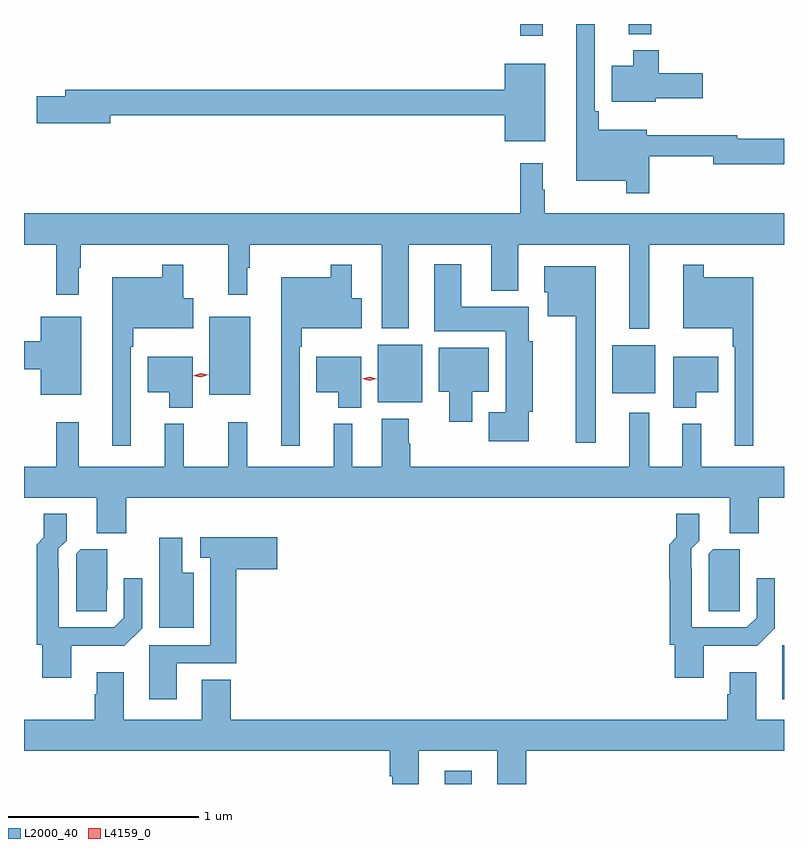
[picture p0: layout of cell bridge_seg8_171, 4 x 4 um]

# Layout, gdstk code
import gdstk
lib = gdstk.Library(unit=1e-6, precision=1e-09)
def R(c, l, rs):  # rectangles x0, y0, x1, y1
    for r in rs: c.add(gdstk.rectangle(r[:2], r[2:], *l))
def P(c, l, *ps):  # polygons
    for p in ps: c.add(gdstk.Polygon(p, *l))
L2000_40 = (2000, 40)
L4159_0 = (4159, 0)

bridge_seg8_171 = lib.new_cell('bridge_seg8_171')
R(bridge_seg8_171, L2000_40, [(542.663,1089.685,542.806,1089.754), (544.439,1090.131,544.449,1090.416), (542.312,1091.693,542.545,1091.998), (541.424,1091.735,541.639,1092.145), (543.545,1091.741,543.772,1091.995), (543.061,1093.623,543.179,1093.685), (543.632,1093.631,543.749,1093.685)])
P(bridge_seg8_171, L2000_40, [(543.739,1092.99),(544.076,1092.99),(544.076,1092.947),(544.449,1092.947),(544.449,1093.082),(544.204,1093.082),(544.204,1093.1),(543.727,1093.1),(543.727,1093.129),(543.473,1093.129),(543.473,1093.225),(543.453,1093.225),(543.453,1093.685),(543.356,1093.685),(543.356,1092.86),(543.618,1092.86),(543.618,1092.795),(543.739,1092.795)],
  [(543.774,1093.295),(544.021,1093.295),(544.021,1093.425),(543.791,1093.425),(543.791,1093.546),(543.656,1093.546),(543.656,1093.465),(543.542,1093.465),(543.542,1093.277),(543.774,1093.277)],
  [(543.193,1093.477),(542.978,1093.477),(542.978,1093.34),(540.665,1093.34),(540.665,1093.304),(540.516,1093.304),(540.516,1093.162),(540.904,1093.162),(540.904,1093.204),(542.978,1093.204),(542.978,1093.067),(543.193,1093.067)],
  [(543.739,1092.524),(544.449,1092.524),(544.449,1092.688),(543.19,1092.688),(543.19,1092.812),(543.178,1092.812),(543.178,1092.952),(543.061,1092.952),(543.061,1092.688),(540.449,1092.688),(540.449,1092.524),(540.619,1092.524),(540.619,1092.261),(540.736,1092.261),(540.736,1092.401),(540.748,1092.401),(540.748,1092.524),(541.525,1092.524),(541.525,1092.261),(541.624,1092.261),(541.624,1092.401),(541.636,1092.401),(541.636,1092.524),(542.333,1092.524),(542.333,1092.083),(542.473,1092.083),(542.473,1092.524),(542.909,1092.524),(542.909,1092.281),(543.049,1092.281),(543.049,1092.524),(543.635,1092.524),(543.635,1092.08),(543.739,1092.08)],
  [(543.106,1091.643),(543.127,1091.643),(543.127,1092.015),(543.106,1092.015),(543.106,1092.196),(542.749,1092.196),(542.749,1092.421),(542.609,1092.421),(542.609,1092.068),(542.984,1092.068),(542.984,1091.641),(542.894,1091.641),(542.894,1091.489),(543.106,1091.489)],
  [(541.011,1091.987),(541.024,1091.987),(541.024,1092.083),(541.339,1092.083),(541.339,1092.241),(541.287,1092.241),(541.287,1092.418),(541.176,1092.418),(541.176,1092.352),(540.914,1092.352),(540.914,1091.466),(541.011,1091.466)],
  [(544.288,1092.352),(544.027,1092.352),(544.027,1092.418),(543.918,1092.418),(543.918,1092.083),(544.179,1092.083),(544.179,1091.987),(544.191,1091.987),(544.191,1091.466),(544.288,1091.466)],
  [(541.899,1091.987),(541.912,1091.987),(541.912,1092.083),(542.227,1092.083),(542.227,1092.241),(542.173,1092.241),(542.173,1092.418),(542.064,1092.418),(542.064,1092.352),(541.802,1092.352),(541.802,1091.466),(541.899,1091.466)],
  [(543.457,1092.409),(543.188,1092.409),(543.188,1092.273),(543.206,1092.273),(543.206,1092.146),(543.353,1092.146),(543.353,1091.481),(543.457,1091.481)],
  [(540.751,1092.145),(540.536,1092.145),(540.536,1092.014),(540.449,1092.014),(540.449,1091.867),(540.536,1091.867),(540.536,1091.735),(540.751,1091.735)],
  [(542.809,1091.75),(542.896,1091.75),(542.896,1091.98),(542.633,1091.98),(542.633,1091.75),(542.687,1091.75),(542.687,1091.592),(542.809,1091.592)],
  [(541.336,1091.935),(541.1,1091.935),(541.1,1091.747),(541.214,1091.747),(541.214,1091.666),(541.336,1091.666)],
  [(542.224,1091.935),(541.988,1091.935),(541.988,1091.747),(542.102,1091.747),(542.102,1091.666),(542.224,1091.666)],
  [(543.988,1091.747),(544.102,1091.747),(544.102,1091.935),(543.866,1091.935),(543.866,1091.666),(543.988,1091.666)],
  [(540.986,1091.192),(544.163,1091.192),(544.163,1091.005),(544.316,1091.005),(544.316,1091.192),(544.449,1091.192),(544.449,1091.356),(544.013,1091.356),(544.013,1091.581),(543.914,1091.581),(543.914,1091.356),(543.739,1091.356),(543.739,1091.638),(543.635,1091.638),(543.635,1091.356),(542.481,1091.356),(542.481,1091.477),(542.473,1091.477),(542.473,1091.608),(542.333,1091.608),(542.333,1091.356),(542.176,1091.356),(542.176,1091.581),(542.078,1091.581),(542.078,1091.356),(541.625,1091.356),(541.625,1091.59),(541.525,1091.59),(541.525,1091.356),(541.29,1091.356),(541.29,1091.581),(541.19,1091.581),(541.19,1091.356),(540.737,1091.356),(540.737,1091.59),(540.619,1091.59),(540.619,1091.356),(540.449,1091.356),(540.449,1091.192),(540.833,1091.192),(540.833,1091.005),(540.986,1091.005)],
  [(544.027,1090.412),(544.307,1090.412),(544.401,1090.506),(544.401,1090.768),(544.305,1090.768),(544.305,1090.56),(544.254,1090.509),(543.963,1090.509),(543.963,1090.823),(543.96,1090.823),(543.96,1090.923),(544.003,1090.966),(544.003,1091.107),(543.883,1091.107),(543.883,1090.983),(543.845,1090.944),(543.845,1090.762),(543.847,1090.762),(543.847,1090.419),(543.875,1090.419),(543.875,1090.245),(544.027,1090.245)],
  [(540.697,1090.412),(540.977,1090.412),(541.071,1090.506),(541.071,1090.768),(540.975,1090.768),(540.975,1090.56),(540.924,1090.509),(540.633,1090.509),(540.633,1090.823),(540.63,1090.823),(540.63,1090.923),(540.673,1090.966),(540.673,1091.107),(540.553,1091.107),(540.553,1090.983),(540.515,1090.944),(540.515,1090.762),(540.517,1090.762),(540.517,1090.419),(540.545,1090.419),(540.545,1090.245),(540.697,1090.245)],
  [(541.252,1090.32),(541.565,1090.32),(541.565,1090.814),(541.783,1090.814),(541.783,1090.983),(541.377,1090.983),(541.377,1090.875),(541.43,1090.875),(541.43,1090.416),(541.109,1090.416),(541.109,1090.131),(541.252,1090.131)],
  [(541.342,1090.798),(541.282,1090.798),(541.282,1090.981),(541.16,1090.981),(541.16,1090.508),(541.342,1090.508)],
  [(544.215,1090.705),(544.216,1090.705),(544.216,1090.92),(544.077,1090.92),(544.053,1090.896),(544.053,1090.594),(544.215,1090.594)],
  [(540.885,1090.705),(540.886,1090.705),(540.886,1090.92),(540.747,1090.92),(540.723,1090.896),(540.723,1090.594),(540.885,1090.594)],
  [(542.527,1089.86),(542.939,1089.86),(542.939,1089.685),(543.092,1089.685),(543.092,1089.86),(544.449,1089.86),(544.449,1090.024),(544.303,1090.024),(544.303,1090.273),(544.163,1090.273),(544.163,1090.157),(544.151,1090.157),(544.151,1090.024),(541.538,1090.024),(541.538,1090.235),(541.385,1090.235),(541.385,1090.024),(540.973,1090.024),(540.973,1090.273),(540.833,1090.273),(540.833,1090.157),(540.821,1090.157),(540.821,1090.024),(540.449,1090.024),(540.449,1089.86),(542.375,1089.86),(542.375,1089.727),(542.387,1089.727),(542.387,1089.685),(542.527,1089.685)])
P(bridge_seg8_171, L4159_0, [(542.267,1091.808),(542.228,1091.818),(542.228,1091.818),(542.228,1091.818),(542.267,1091.828),(542.306,1091.818),(542.306,1091.818),(542.306,1091.818)],
  [(541.38,1091.826),(541.339,1091.835),(541.339,1091.835),(541.339,1091.835),(541.379,1091.846),(541.42,1091.838),(541.42,1091.838),(541.42,1091.838)])

lib.write_gds('bridge_seg8_171.gds')
